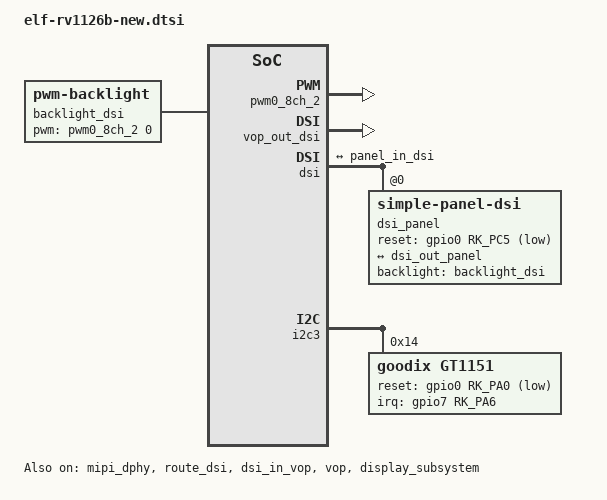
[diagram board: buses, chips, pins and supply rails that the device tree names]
// SPDX-License-Identifier: GPL-2.0
// WKS35HV035-WCT 3.5寸 320x480 MIPI DSI 屏幕 (1 lane) 设备树
// 基于 simple-panel-dsi 驱动，复用原厂稳定框架

#include <dt-bindings/display/drm_mipi_dsi.h>
#include <dt-bindings/gpio/gpio.h>
#include <dt-bindings/interrupt-controller/irq.h>
#include <dt-bindings/pinctrl/rockchip.h>

/ {
	backlight_dsi: backlight-dsi {
		compatible = "pwm-backlight";
		pwms = <&pwm0_8ch_2 0 25000 0>;
		brightness-levels = <
			  0  20  20  21  21  22  22  23
			 23  24  24  25  25  26  26  27
			 27  28  28  29  29  30  30  31
			 31  32  32  33  33  34  34  35
			 35  36  36  37  37  38  38  39
			 40  41  42  43  44  45  46  47
			 48  49  50  51  52  53  54  55
			 56  57  58  59  60  61  62  63
			 64  65  66  67  68  69  70  71
			 72  73  74  75  76  77  78  79
			 80  81  82  83  84  85  86  87
			 88  89  90  91  92  93  94  95
			 96  97  98  99 100 101 102 103
			104 105 106 107 108 109 110 111
			112 113 114 115 116 117 118 119
			120 121 122 123 124 125 126 127
			128 129 130 131 132 133 134 135
			136 137 138 139 140 141 142 143
			144 145 146 147 148 149 150 151
			152 153 154 155 156 157 158 159
			160 161 162 163 164 165 166 167
			168 169 170 171 172 173 174 175
			176 177 178 179 180 181 182 183
			184 185 186 187 188 189 190 191
			192 193 194 195 196 197 198 199
			200 201 202 203 204 205 206 207
			208 209 210 211 212 213 214 215
			216 217 218 219 220 221 222 223
			224 225 226 227 228 229 230 231
			232 233 234 235 236 237 238 239
			240 241 242 243 244 245 246 247
			248 249 250 251 252 253 254 255
		>;
		default-brightness-level = <200>;
		status = "okay";
	};
};

&pwm0_8ch_2 {
	pinctrl-names = "active";
	pinctrl-0 = <&pwm0m0_ch2_pins>;
	status = "okay";
};

&mipi_dphy {
	status = "okay";
};

&route_dsi {
	status = "okay";
	connect = <&vop_out_dsi>;
};

&dsi_in_vop {
	status = "okay";
};

&vop_out_dsi {
	status = "okay";
};

&vop {
	status = "okay";
};

&vop_mmu {
	status = "okay";
};

&display_subsystem {
	status = "okay";
};

&dsi {
	status = "okay";
	rockchip,lane-rate-bps = <200000000>;   /* 200 Mbps，稳定匹配 ST7796U 1-lane */
	rockchip,dsi-lanes = <1>;

	#address-cells = <1>;
	#size-cells = <0>;

	dsi_panel: panel@0 {
		status = "okay";
		compatible = "simple-panel-dsi";
		reg = <0>;
		backlight = <&backlight_dsi>;

		/* 复位引脚：低电平有效，驱动会生成低脉冲复位序列 */
		reset-gpios = <&gpio0 RK_PC5 GPIO_ACTIVE_LOW>;

		/* 
		 * 驱动 reset 流程：先置物理高（无效）→ 延时 reset-delay-ms
		 * → 置物理低（复位） → 延时 init-delay-ms → 发送初始化命令。
		 * 因此这里设置 init-delay-ms = 10 即为低电平复位持续时间。
		 */
		reset-delay-ms = <0>;
		init-delay-ms = <10>;

		/* DSI 模式：视频模式、Burst、低功耗、无 EOT 包 */
		dsi,flags = <(MIPI_DSI_MODE_VIDEO | MIPI_DSI_MODE_VIDEO_BURST |
			MIPI_DSI_MODE_LPM | MIPI_DSI_MODE_NO_EOT_PACKET)>;
		dsi,format = <MIPI_DSI_FMT_RGB888>;
		dsi,lanes  = <1>;

		/* 初始化命令序列，包含 sleep out 和 display on */
		panel-init-sequence = [
			05 C8 01 11                    /* Sleep Out, 延时 200ms */
			29 0A 02 F0 C3                 /* 使能命令集 2 Part I */
			29 0A 02 F0 96                 /* 使能命令集 2 Part II */
			29 0A 02 36 48                /* MADCTL */
			29 0A 02 3A 77                 /* 像素格式 RGB565 */
			29 0A 02 B4 01                 /* 显示反转控制 */
			29 0A 02 B7 C6                 /* 进入模式设置 */
			29 0A 03 B9 02 E0              /* 模式选择 */
			29 0A 03 C0 80 16              /* 电源控制 1 */
			29 0A 02 C1 19                 /* 电源控制 2 */
			29 0A 02 C2 A7                 /* 电源控制 3 */
			29 0A 02 C5 16                 /* VCOM 控制 */
			29 0A 09 E8 40 8A 00 00 29 19 A5 33  /* 显示输出调整 */
			29 0A 0F E0 F0 07 0D 04 05 14 36 54 4C 38 13 14 2E 34  /* 正伽马 */
			29 0A 0F E1 F0 10 14 0E 0C 08 35 44 4C 26 10 12 2C 32  /* 负伽马 */
			29 0A 02 F0 3C                 /* 恢复命令集 1 Part I */
			29 0A 02 F0 69                 /* 恢复命令集 1 Part II */
			05 0A 01 21                    /* 显示反转开启, 延时 10ms */
			05 64 01 29                    /* Display On, 延时 100ms */
		];

		display-timings {
			native-mode = <&dsi0_timing0>;
			dsi0_timing0: timing0 {
				clock-frequency = <12000000>;
				hactive = <320>;
				vactive = <480>;
				hfront-porch = <40>;
				hsync-len   = <20>;
				hback-porch  = <20>;
				vfront-porch = <20>;
				vsync-len    = <4>;
				vback-porch  = <20>;
				hsync-active = <0>;
				vsync-active = <0>;
				de-active    = <0>;
				pixelclk-active = <0>;
			};
		};

		ports {
			#address-cells = <1>;
			#size-cells = <0>;

			port@0 {
				reg = <0>;
				panel_in_dsi: endpoint {
					remote-endpoint = <&dsi_out_panel>;
				};
			};
		};
	};

	ports {
		#address-cells = <1>;
		#size-cells = <0>;

		port@1 {
			reg = <1>;
			dsi_out_panel: endpoint {
				remote-endpoint = <&panel_in_dsi>;
			};
		};
	};
};

&i2c3 {
	status = "okay";

	gt1151: touchscreen@14 {
		status = "okay";
		compatible = "goodix,gt1151";
		reg = <0x14>;

		pinctrl-names = "default";
		pinctrl-0 = <&gt1151_touch_pins>;

		reset-gpios = <&gpio0 RK_PA0 GPIO_ACTIVE_LOW>;
		interrupt-parent = <&gpio7>;
		interrupts = <RK_PA6 IRQ_TYPE_EDGE_FALLING>;
		irq-gpios = <&gpio7 RK_PA6 GPIO_ACTIVE_HIGH>;

		touchscreen-size-x = <320>;
		touchscreen-size-y = <480>;
	};
};

&pinctrl {
	touch {
		gt1151_touch_pins: gt1151-touch-pins {
			rockchip,pins = <
				0 RK_PA0 RK_FUNC_GPIO &pcfg_pull_up
				7 RK_PA6 RK_FUNC_GPIO &pcfg_pull_up
			>;
		};
	};
};
